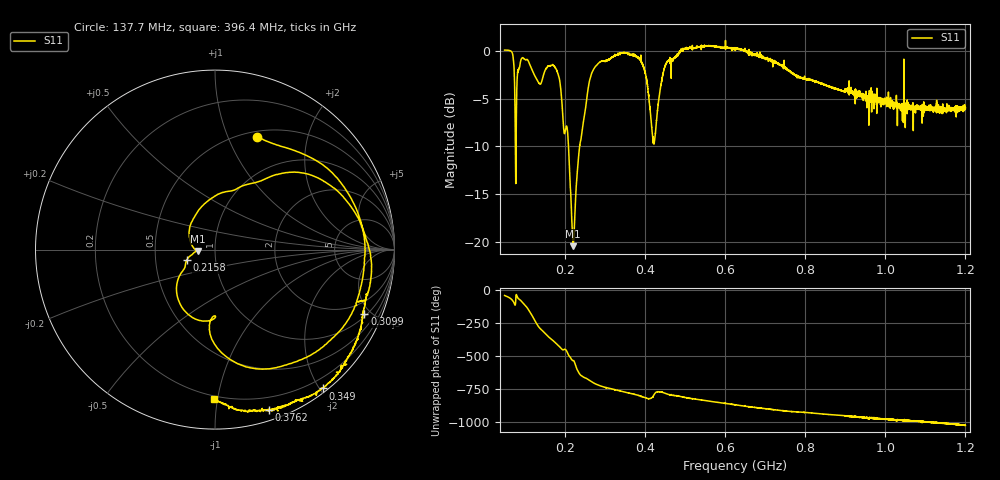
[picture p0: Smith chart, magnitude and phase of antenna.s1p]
! Calibrated high-resolution NanoVNA antenna measurement
# Hz S RI R 50
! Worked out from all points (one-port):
!   40001 points, 50 MHz to 1.2 GHz, reference 50 ohm
!   lowest |S11| = -20.4 dB at 221.1 MHz (marker M1), VSWR 1.21, Z = 41.3 - j0.68 ohm
!   |S11| at or under -10 dB: 76.89 MHz to 78.67 MHz (1.78 MHz wide, 2.29 % of centre); 209.5 MHz to 237.1 MHz (27.66 MHz wide, 12.4 % of centre); 237.1489 MHz to 237.176 MHz (27.14 kHz wide, 0.0114 % of centre)
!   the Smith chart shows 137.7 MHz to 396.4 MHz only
!   S11 on the Smith chart (normalised r, x): 137.7 MHz: 0.56, +1.28; 215.8 MHz: 0.72, -0.09; 309.9 MHz: 1.12, -4.56; 349 MHz: 0.05, -2.04; 376.2 MHz: 0.09, -1.39; 396.4 MHz: 0.18, -0.97
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5e7  0.7261 -0.7008
6.78825e7  0.2652 -0.9504
8.00725e7  0.4357 -0.3966
8.50175e7  0.2857 -0.7508
9.602875e7  -0.1759 -0.9016
1.130775e8  -0.8251 -0.1839
1.259575e8  -0.4136 0.6086
1.37745e8  0.2335 0.6292
1.640512e8  0.8293 -0.1035
1.818762e8  0.4576 -0.6227
1.9375e8  -0.0108 -0.5122
2.157725e8  -0.1572 -0.0571
2.210625e8  -0.0947 -0.00815
2.586388e8  0.473 0.4294
2.791662e8  0.8351 0.0842
3.098712e8  0.8321 -0.361
3.375e8  0.7044 -0.666
3.490288e8  0.6004 -0.7737
3.761688e8  0.2992 -0.8923
3.964375e8  -0.0094 -0.8279
4.252738e8  0.1651 -0.3106
4.449675e8  0.4194 -0.6216
4.8125e8  0.1255 -0.9292
6.25e8  -0.8674 -0.5476
7.6875e8  -0.7153 0.2645
9.125e8  -0.3523 0.5085
1.05625e9  -0.0216 0.5073
1.2e9  0.2767 0.4143
